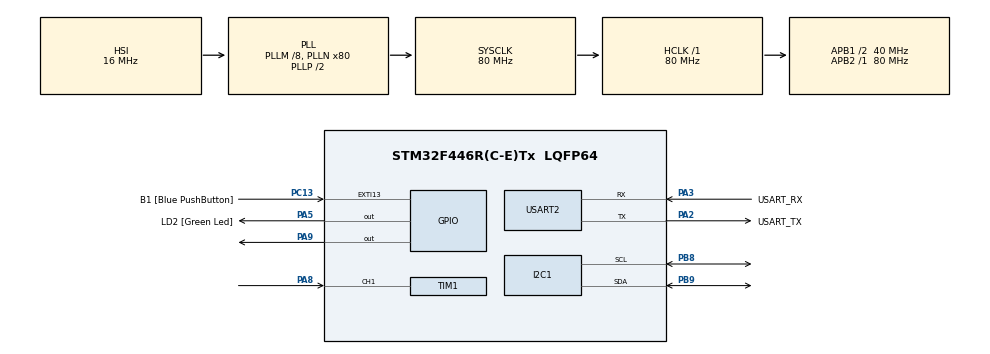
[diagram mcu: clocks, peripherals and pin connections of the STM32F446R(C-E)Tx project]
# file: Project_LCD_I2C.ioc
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Mcu.Family=STM32F4
Mcu.Name=STM32F446R(C-E)Tx
Mcu.Package=LQFP64
NVIC.PriorityGroup=NVIC_PRIORITYGROUP_0
NVIC.TIM1_CC_IRQn=true\:0\:0\:false\:false\:true\:true\:true\:true
PA13.GPIO_Label=TMS
PA13.Mode=Serial_Wire
PA13.Signal=SYS_JTMS-SWDIO
PA14.GPIO_Label=TCK
PA14.Mode=Serial_Wire
PA14.Signal=SYS_JTCK-SWCLK
PA2.GPIO_Label=USART_TX
PA2.Mode=Asynchronous
PA2.Signal=USART2_TX
PA3.GPIO_Label=USART_RX
PA3.Mode=Asynchronous
PA3.Signal=USART2_RX
PA5.GPIO_Label=LD2 [Green Led]
PA5.Signal=GPIO_Output
PA8.Signal=S_TIM1_CH1
PA9.Signal=GPIO_Output
PB3.GPIO_Label=SWO
PB3.Signal=SYS_JTDO-SWO
PB8.Mode=I2C
PB8.Signal=I2C1_SCL
PB9.Mode=I2C
PB9.Signal=I2C1_SDA
PC13.GPIO_Label=B1 [Blue PushButton]
PC13.GPIO_ModeDefaultEXTI=GPIO_MODE_IT_FALLING
PC13.Signal=GPXTI13
PC14-OSC32_IN.Mode=LSE-External-Oscillator
PC14-OSC32_IN.Signal=RCC_OSC32_IN
PC15-OSC32_OUT.Mode=LSE-External-Oscillator
PC15-OSC32_OUT.Signal=RCC_OSC32_OUT
PH0-OSC_IN.Mode=HSE-External-Oscillator
PH0-OSC_IN.Signal=RCC_OSC_IN
PH1-OSC_OUT.Mode=HSE-External-Oscillator
PH1-OSC_OUT.Signal=RCC_OSC_OUT
ProjectManager.HeapSize=0x200
ProjectManager.StackSize=0x400
ProjectManager.TargetToolchain=STM32CubeIDE
RCC.48MHZClocksFreq_Value=84000000
RCC.AHBFreq_Value=80000000
RCC.APB1CLKDivider=RCC_HCLK_DIV2
RCC.APB1Freq_Value=40000000
RCC.APB1TimFreq_Value=80000000
RCC.APB2Freq_Value=80000000
RCC.APB2TimFreq_Value=80000000
RCC.CortexFreq_Value=80000000
RCC.FLatency-AdvancedSettings=FLASH_LATENCY_2
RCC.HCLKFreq_Value=80000000
RCC.HSE_VALUE=8000000
RCC.HSI_VALUE=16000000
RCC.PLLM=8
RCC.PLLN=80
RCC.PLLSAIN=50
RCC.SYSCLKFreq_VALUE=80000000
RCC.SYSCLKSource=RCC_SYSCLKSOURCE_PLLCLK
RCC.USBFreq_Value=80000000
RCC.VCOOutputFreq_Value=160000000
SH.S_TIM1_CH1.0=TIM1_CH1,Input_Capture1_from_TI1
TIM1.Channel-Input_Capture1_from_TI1=TIM_CHANNEL_1
TIM1.Prescaler=80-1
USART2.VirtualMode=VM_ASYNC
VP_TIM1_VS_ClockSourceINT.Mode=Internal
board=NUCLEO-F446RE

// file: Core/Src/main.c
/* USER CODE BEGIN Header */
/**
  ******************************************************************************
  * @file           : main.c
  * @brief          : Main program body
  ******************************************************************************
  * @attention
  *
  * Copyright (c) 2024 STMicroelectronics.
  * All rights reserved.
  *
  * This software is licensed under terms that can be found in the LICENSE file
  * in the root directory of this software component.
  * If no LICENSE file comes with this software, it is provided AS-IS.
  *
  ******************************************************************************
  */
/* USER CODE END Header */
#include "main.h"

/* USER CODE BEGIN Includes */
#include "liquidcrystal_i2c.h"
/* USER CODE END Includes */

I2C_HandleTypeDef hi2c1;

TIM_HandleTypeDef htim1;

UART_HandleTypeDef huart2;

void SystemClock_Config(void);
static void MX_GPIO_Init(void);
static void MX_USART2_UART_Init(void);
static void MX_I2C1_Init(void);
static void MX_TIM1_Init(void);

/* USER CODE BEGIN 0 */
#define TRIG_PIN GPIO_PIN_9
#define TRIG_PORT GPIOA
uint32_t IC_Val1 = 0;
uint32_t IC_Val2 = 0;
uint32_t Difference = 0;
uint8_t Is_First_Captured = 0;
uint8_t Distance =0;
//function dedicated to wait for 10 microseconds
void delay (uint16_t time){
	__HAL_TIM_SET_COUNTER(&htim1, 0);
	while(__HAL_TIM_GET_COUNTER(&htim1)<time);
}
//sending trigger signal to HC-SR04
void HCSR04_Read (void){
	__HAL_TIM_ENABLE_IT(&htim1, TIM_IT_CC1);
	HAL_GPIO_WritePin(TRIG_PORT, TRIG_PIN, GPIO_PIN_SET);
	delay(40);
	HAL_GPIO_WritePin(TRIG_PORT, TRIG_PIN, GPIO_PIN_RESET);

}
//elaboration of output from echo
void HAL_TIM_IC_CaptureCallback(TIM_HandleTypeDef *htim)
{
		if (htim->Channel == HAL_TIM_ACTIVE_CHANNEL_1)
		{
			if(Is_First_Captured == 0)
			{
				IC_Val1= HAL_TIM_ReadCapturedValue(htim, TIM_CHANNEL_1);
				Is_First_Captured=1;
				__HAL_TIM_SET_CAPTUREPOLARITY(htim, TIM_CHANNEL_1, TIM_INPUTCHANNELPOLARITY_FALLING);
			}
			else if (Is_First_Captured == 1)
			{
				IC_Val2=HAL_TIM_ReadCapturedValue(htim, TIM_CHANNEL_1);
				__HAL_TIM_SET_COUNTER(htim, 0);
				if (IC_Val2 > IC_Val1){
					Difference=IC_Val2-IC_Val1;
				}
				else if (IC_Val1 > IC_Val2)
				{
					Difference = (0xffff - IC_Val1) + IC_Val2;
				}

				Distance = Difference * .034/2;
				Is_First_Captured = 0;
				__HAL_TIM_SET_CAPTUREPOLARITY(htim, TIM_CHANNEL_1, TIM_INPUTCHANNELPOLARITY_RISING);
				__HAL_TIM_DISABLE_IT(&htim1,TIM_IT_CC1);
			}
		}
}

/* USER CODE END 0 */

int main(void)
{

  /* MCU Configuration--------------------------------------------------------*/

  /* Reset of all peripherals, Initializes the Flash interface and the Systick. */
  HAL_Init();

  /* Configure the system clock */
  SystemClock_Config();

  /* Initialize all configured peripherals */
  MX_GPIO_Init();
  MX_USART2_UART_Init();
  MX_I2C1_Init();
  MX_TIM1_Init();
  /* USER CODE BEGIN 2 */
   HAL_TIM_IC_Start_IT(&htim1, TIM_CHANNEL_1);
   HD44780_Init(2);

  /* USER CODE END 2 */

  /* Infinite loop */
  /* USER CODE BEGIN WHILE */

  while (1)
  {
	HCSR04_Read();
	HD44780_Clear();
	HD44780_SetCursor(0,0);
	HD44780_PrintSpecialChar((Distance/10+48));
	HD44780_PrintSpecialChar((Distance%10+48));
	HAL_Delay(500);
    /* USER CODE END WHILE */

  }
}

void SystemClock_Config(void)
{
  RCC_OscInitTypeDef RCC_OscInitStruct = {0};
  RCC_ClkInitTypeDef RCC_ClkInitStruct = {0};

  /** Configure the main internal regulator output voltage
  */
  __HAL_RCC_PWR_CLK_ENABLE();
  __HAL_PWR_VOLTAGESCALING_CONFIG(PWR_REGULATOR_VOLTAGE_SCALE3);

  /** Initializes the RCC Oscillators according to the specified parameters
  * in the RCC_OscInitTypeDef structure.
  */
  RCC_OscInitStruct.OscillatorType = RCC_OSCILLATORTYPE_HSI;
  RCC_OscInitStruct.HSIState = RCC_HSI_ON;
  RCC_OscInitStruct.HSICalibrationValue = RCC_HSICALIBRATION_DEFAULT;
  RCC_OscInitStruct.PLL.PLLState = RCC_PLL_ON;
  RCC_OscInitStruct.PLL.PLLSource = RCC_PLLSOURCE_HSI;
  RCC_OscInitStruct.PLL.PLLM = 8;
  RCC_OscInitStruct.PLL.PLLN = 80;
  RCC_OscInitStruct.PLL.PLLP = RCC_PLLP_DIV2;
  RCC_OscInitStruct.PLL.PLLQ = 2;
  RCC_OscInitStruct.PLL.PLLR = 2;
  if (HAL_RCC_OscConfig(&RCC_OscInitStruct) != HAL_OK)
  {
    Error_Handler();
  }

  /** Initializes the CPU, AHB and APB buses clocks
  */
  RCC_ClkInitStruct.ClockType = RCC_CLOCKTYPE_HCLK|RCC_CLOCKTYPE_SYSCLK
                              |RCC_CLOCKTYPE_PCLK1|RCC_CLOCKTYPE_PCLK2;
  RCC_ClkInitStruct.SYSCLKSource = RCC_SYSCLKSOURCE_PLLCLK;
  RCC_ClkInitStruct.AHBCLKDivider = RCC_SYSCLK_DIV1;
  RCC_ClkInitStruct.APB1CLKDivider = RCC_HCLK_DIV2;
  RCC_ClkInitStruct.APB2CLKDivider = RCC_HCLK_DIV1;

  if (HAL_RCC_ClockConfig(&RCC_ClkInitStruct, FLASH_LATENCY_2) != HAL_OK)
  {
    Error_Handler();
  }
}

static void MX_I2C1_Init(void)
{

  hi2c1.Instance = I2C1;
  hi2c1.Init.ClockSpeed = 100000;
  hi2c1.Init.DutyCycle = I2C_DUTYCYCLE_2;
  hi2c1.Init.OwnAddress1 = 0;
  hi2c1.Init.AddressingMode = I2C_ADDRESSINGMODE_7BIT;
  hi2c1.Init.DualAddressMode = I2C_DUALADDRESS_DISABLE;
  hi2c1.Init.OwnAddress2 = 0;
  hi2c1.Init.GeneralCallMode = I2C_GENERALCALL_DISABLE;
  hi2c1.Init.NoStretchMode = I2C_NOSTRETCH_DISABLE;
  if (HAL_I2C_Init(&hi2c1) != HAL_OK)
  {
    Error_Handler();
  }

}

static void MX_TIM1_Init(void)
{

  TIM_ClockConfigTypeDef sClockSourceConfig = {0};
  TIM_MasterConfigTypeDef sMasterConfig = {0};
  TIM_IC_InitTypeDef sConfigIC = {0};

  htim1.Instance = TIM1;
  htim1.Init.Prescaler = 80-1;
  htim1.Init.CounterMode = TIM_COUNTERMODE_UP;
  htim1.Init.Period = 65535;
  htim1.Init.ClockDivision = TIM_CLOCKDIVISION_DIV1;
  htim1.Init.RepetitionCounter = 0;
  htim1.Init.AutoReloadPreload = TIM_AUTORELOAD_PRELOAD_DISABLE;
  if (HAL_TIM_Base_Init(&htim1) != HAL_OK)
  {
    Error_Handler();
  }
  sClockSourceConfig.ClockSource = TIM_CLOCKSOURCE_INTERNAL;
  if (HAL_TIM_ConfigClockSource(&htim1, &sClockSourceConfig) != HAL_OK)
  {
    Error_Handler();
  }
  if (HAL_TIM_IC_Init(&htim1) != HAL_OK)
  {
    Error_Handler();
  }
  sMasterConfig.MasterOutputTrigger = TIM_TRGO_RESET;
  sMasterConfig.MasterSlaveMode = TIM_MASTERSLAVEMODE_DISABLE;
  if (HAL_TIMEx_MasterConfigSynchronization(&htim1, &sMasterConfig) != HAL_OK)
  {
    Error_Handler();
  }
  sConfigIC.ICPolarity = TIM_INPUTCHANNELPOLARITY_RISING;
  sConfigIC.ICSelection = TIM_ICSELECTION_DIRECTTI;
  sConfigIC.ICPrescaler = TIM_ICPSC_DIV1;
  sConfigIC.ICFilter = 0;
  if (HAL_TIM_IC_ConfigChannel(&htim1, &sConfigIC, TIM_CHANNEL_1) != HAL_OK)
  {
    Error_Handler();
  }

}

static void MX_USART2_UART_Init(void)
{

  huart2.Instance = USART2;
  huart2.Init.BaudRate = 115200;
  huart2.Init.WordLength = UART_WORDLENGTH_8B;
  huart2.Init.StopBits = UART_STOPBITS_1;
  huart2.Init.Parity = UART_PARITY_NONE;
  huart2.Init.Mode = UART_MODE_TX_RX;
  huart2.Init.HwFlowCtl = UART_HWCONTROL_NONE;
  huart2.Init.OverSampling = UART_OVERSAMPLING_16;
  if (HAL_UART_Init(&huart2) != HAL_OK)
  {
    Error_Handler();
  }

}

static void MX_GPIO_Init(void)
{
  GPIO_InitTypeDef GPIO_InitStruct = {0};

  /* GPIO Ports Clock Enable */
  __HAL_RCC_GPIOC_CLK_ENABLE();
  __HAL_RCC_GPIOH_CLK_ENABLE();
  __HAL_RCC_GPIOA_CLK_ENABLE();
  __HAL_RCC_GPIOB_CLK_ENABLE();

  /*Configure GPIO pin Output Level */
  HAL_GPIO_WritePin(GPIOA, LD2_Pin|GPIO_PIN_9, GPIO_PIN_RESET);

  /*Configure GPIO pin : B1_Pin */
  GPIO_InitStruct.Pin = B1_Pin;
  GPIO_InitStruct.Mode = GPIO_MODE_IT_FALLING;
  GPIO_InitStruct.Pull = GPIO_NOPULL;
  HAL_GPIO_Init(B1_GPIO_Port, &GPIO_InitStruct);

  /*Configure GPIO pins : LD2_Pin PA9 */
  GPIO_InitStruct.Pin = LD2_Pin|GPIO_PIN_9;
  GPIO_InitStruct.Mode = GPIO_MODE_OUTPUT_PP;
  GPIO_InitStruct.Pull = GPIO_NOPULL;
  GPIO_InitStruct.Speed = GPIO_SPEED_FREQ_LOW;
  HAL_GPIO_Init(GPIOA, &GPIO_InitStruct);

}

void Error_Handler(void)
{
  __disable_irq();
  while (1)
  {
  }
}
